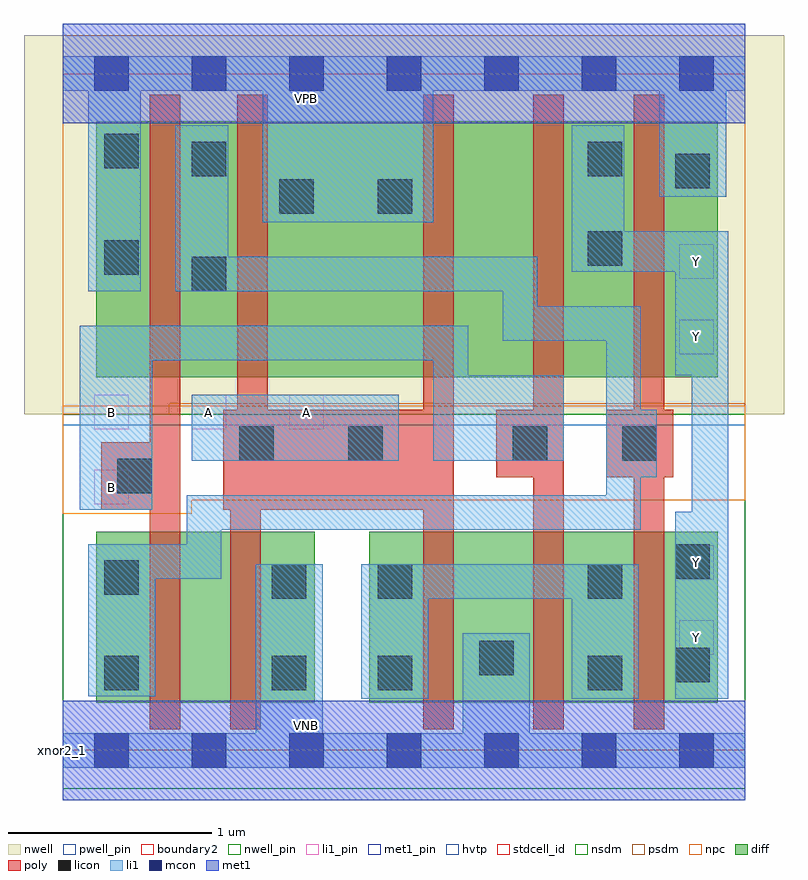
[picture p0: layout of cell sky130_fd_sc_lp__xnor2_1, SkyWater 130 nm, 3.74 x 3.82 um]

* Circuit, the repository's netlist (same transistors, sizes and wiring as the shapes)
* Copyright 2020 The SkyWater PDK Authors
*
* Licensed under the Apache License, Version 2.0 (the "License");
* you may not use this file except in compliance with the License.
* You may obtain a copy of the License at
*
*     https://www.apache.org/licenses/LICENSE-2.0
*
* Unless required by applicable law or agreed to in writing, software
* distributed under the License is distributed on an "AS IS" BASIS,
* WITHOUT WARRANTIES OR CONDITIONS OF ANY KIND, either express or implied.
* See the License for the specific language governing permissions and
* limitations under the License.
*
* SPDX-License-Identifier: Apache-2.0

.SUBCKT sky130_fd_sc_lp__xnor2_1 A B VGND VNB VPB VPWR Y
*.PININFO A:I B:I VGND:I VNB:I VPB:I VPWR:I Y:O
MMNnand0 VGND A sndNA VNB sky130_fd_pr__nfet_01v8 m=1 w=0.84U l=0.15U mult=1 sa=0.265
+ sb=0.265 sd=0.28 area=0.063 perim=1.14
MMNnand1 sndNA B inand VNB sky130_fd_pr__nfet_01v8 m=1 w=0.84U l=0.15U mult=1 sa=0.265
+ sb=0.265 sd=0.28 area=0.063 perim=1.14
MMNaoi10 nmid A VGND VNB sky130_fd_pr__nfet_01v8 m=1 w=0.84U l=0.15U mult=1 sa=0.265
+ sb=0.265 sd=0.28 area=0.063 perim=1.14
MMNaoi11 nmid B VGND VNB sky130_fd_pr__nfet_01v8 m=1 w=0.84U l=0.15U mult=1 sa=0.265
+ sb=0.265 sd=0.28 area=0.063 perim=1.14
MMNaoi20 Y inand nmid VNB sky130_fd_pr__nfet_01v8 m=1 w=0.84U l=0.15U mult=1 sa=0.265
+ sb=0.265 sd=0.28 area=0.063 perim=1.14
MMPnand0 inand A VPWR VPB sky130_fd_pr__pfet_01v8_hvt m=1 w=1.26U l=0.15U mult=1
+ sa=0.265 sb=0.265 sd=0.28 area=0.063 perim=1.14
MMPnand1 inand B VPWR VPB sky130_fd_pr__pfet_01v8_hvt m=1 w=1.26U l=0.15U mult=1
+ sa=0.265 sb=0.265 sd=0.28 area=0.063 perim=1.14
MMPaoi10 VPWR A sndPA VPB sky130_fd_pr__pfet_01v8_hvt m=1 w=1.26U l=0.15U mult=1
+ sa=0.265 sb=0.265 sd=0.28 area=0.063 perim=1.14
MMPaoi11 sndPA B Y VPB sky130_fd_pr__pfet_01v8_hvt m=1 w=1.26U l=0.15U mult=1 sa=0.265
+ sb=0.265 sd=0.28 area=0.063 perim=1.14
MMPaoi20 Y inand VPWR VPB sky130_fd_pr__pfet_01v8_hvt m=1 w=1.26U l=0.15U mult=1
+ sa=0.265 sb=0.265 sd=0.28 area=0.063 perim=1.14
.ENDS sky130_fd_sc_lp__xnor2_1

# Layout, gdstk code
import gdstk
lib = gdstk.Library(unit=1e-6, precision=1e-09)
def R(c, l, rs):  # rectangles x0, y0, x1, y1
    for r in rs: c.add(gdstk.rectangle(r[:2], r[2:], *l))
def A(c, l, x, y, w, h, nx, ny, dx, dy):  # array of equal rectangles
    R(c, l, [(x+i*dx, y+j*dy, x+i*dx+w, y+j*dy+h) for i in range(nx) for j in range(ny)])
def P(c, l, *ps):  # polygons
    for p in ps: c.add(gdstk.Polygon(p, *l))
nwell_pin = (64, 16)
nwell = (64, 20)
diff = (65, 20)
poly = (66, 20)
licon = (66, 44)
li1_pin = (67, 16)
li1 = (67, 20)
mcon = (67, 44)
met1_pin = (68, 16)
met1 = (68, 20)
hvtp = (78, 44)
stdcell_id = (81, 4)
nsdm = (93, 44)
psdm = (94, 20)
npc = (95, 20)
pwell_pin = (122, 16)
boundary2 = (236, 0)

sky130_fd_sc_lp__xnor2_1 = lib.new_cell('sky130_fd_sc_lp__xnor2_1')
R(sky130_fd_sc_lp__xnor2_1, nwell_pin, [(0,3.085,3.36,3.33)])
R(sky130_fd_sc_lp__xnor2_1, nwell, [(-0.19,1.655,3.55,3.52)])
R(sky130_fd_sc_lp__xnor2_1, diff, [(0.165,0.235,1.24,1.075), (1.51,0.235,3.225,1.075), (0.165,1.835,3.225,3.095)])
P(sky130_fd_sc_lp__xnor2_1, poly, [(1.925,3.225),(1.775,3.225),(1.775,1.675),(1.01,1.675),(1.01,3.225),(0.86,3.225),(0.86,1.675),(0.79,1.675),(0.79,1.185),(0.825,1.185),(0.825,0.105),(0.975,0.105),(0.975,1.185),(1.775,1.185),(1.775,0.105),(1.925,0.105)],
  [(0.58,3.225),(0.43,3.225),(0.43,1.515),(0.19,1.515),(0.19,1.185),(0.43,1.185),(0.43,0.105),(0.58,0.105)],
  [(2.465,3.225),(2.315,3.225),(2.315,1.675),(2.135,1.675),(2.135,1.345),(2.315,1.345),(2.315,0.105),(2.465,0.105)],
  [(3.005,1.675),(2.96,1.675),(2.96,3.225),(2.81,3.225),(2.81,1.675),(2.675,1.675),(2.675,1.345),(2.81,1.345),(2.81,0.105),(2.96,0.105),(2.96,1.345),(3.005,1.345)])
R(sky130_fd_sc_lp__xnor2_1, licon, [(0.205,0.295,0.375,0.465), (1.03,0.295,1.2,0.465), (1.55,0.295,1.72,0.465), (2.585,0.295,2.755,0.465), (3.015,0.335,3.185,0.505), (2.05,0.37,2.22,0.54), (1.03,0.745,1.2,0.915), (1.55,0.745,1.72,0.915), (2.585,0.745,2.755,0.915), (0.205,0.765,0.375,0.935), (3.015,0.845,3.185,1.015), (0.27,1.265,0.44,1.435), (0.87,1.425,1.04,1.595), (1.405,1.425,1.575,1.595), (2.215,1.425,2.385,1.595), (2.755,1.425,2.925,1.595), (0.635,2.26,0.805,2.43), (0.205,2.34,0.375,2.51), (2.585,2.385,2.755,2.555), (1.065,2.64,1.235,2.81), (1.55,2.64,1.72,2.81), (3.015,2.765,3.185,2.935), (0.635,2.825,0.805,2.995), (2.585,2.825,2.755,2.995), (0.205,2.865,0.375,3.035)])
A(sky130_fd_sc_lp__xnor2_1, li1_pin, 0.155, 1.58, 0.17, 0.17, 3, 1, 0.48, 0)
R(sky130_fd_sc_lp__xnor2_1, li1_pin, [(3.035,0.47,3.205,0.64), (3.035,0.84,3.205,1.01), (0.155,1.21,0.325,1.38), (3.035,1.95,3.205,2.12), (3.035,2.32,3.205,2.49)])
R(sky130_fd_sc_lp__xnor2_1, li1, [(0.635,1.425,1.655,1.75)])
P(sky130_fd_sc_lp__xnor2_1, li1, [(0.985,2.6),(0.985,3.245),(0.385,3.245),(0.385,2.26),(0.125,2.26),(0.125,3.245),(0,3.245),(0,3.415),(3.36,3.415),(3.36,3.245),(3.265,3.245),(3.265,2.725),(2.935,2.725),(2.935,3.245),(1.825,3.245),(1.825,2.6)],
  [(0.95,0.085),(0.95,0.915),(1.28,0.915),(1.28,0.085),(1.97,0.085),(1.97,0.575),(2.3,0.575),(2.3,0.085),(3.36,0.085),(3.36,-0.085),(0,-0.085),(0,0.085)],
  [(3.275,2.555),(2.765,2.555),(2.765,3.075),(2.505,3.075),(2.505,2.355),(3.015,2.355),(3.015,1.845),(3.095,1.845),(3.095,1.175),(3.015,1.175),(3.015,0.255),(3.275,0.255)],
  [(2.505,0.745),(1.8,0.745),(1.8,0.255),(1.47,0.255),(1.47,0.915),(2.835,0.915),(2.835,0.255),(2.505,0.255)],
  [(2.465,1.845),(1.995,1.845),(1.995,2.09),(0.085,2.09),(0.085,1.185),(0.44,1.185),(0.44,1.92),(1.825,1.92),(1.825,1.425),(2.465,1.425)],
  [(2.925,1.675),(2.845,1.675),(2.845,2.185),(2.335,2.185),(2.335,2.43),(0.815,2.43),(0.815,3.075),(0.555,3.075),(0.555,2.26),(2.165,2.26),(2.165,2.015),(2.675,2.015),(2.675,1.255),(0.61,1.255),(0.61,1.015),(0.125,1.015),(0.125,0.265),(0.455,0.265),(0.455,0.845),(0.78,0.845),(0.78,1.085),(2.845,1.085),(2.845,1.345),(2.925,1.345)])
A(sky130_fd_sc_lp__xnor2_1, mcon, 0.155, -0.085, 0.17, 0.17, 7, 2, 0.48, 3.33)
R(sky130_fd_sc_lp__xnor2_1, met1_pin, [(0,0,3.36,0.245), (0,3.085,3.36,3.33)])
R(sky130_fd_sc_lp__xnor2_1, met1, [(0,-0.245,3.36,0.245), (0,3.085,3.36,3.575)])
R(sky130_fd_sc_lp__xnor2_1, hvtp, [(0,1.6,3.36,3.33)])
R(sky130_fd_sc_lp__xnor2_1, stdcell_id, [(0,0,3.36,3.33)])
R(sky130_fd_sc_lp__xnor2_1, nsdm, [(0,-0.19,3.36,1.655)])
P(sky130_fd_sc_lp__xnor2_1, psdm, [(3.36,3.52),(0,3.52),(0,1.655),(0.525,1.655),(0.525,1.705),(3.36,1.705)])
P(sky130_fd_sc_lp__xnor2_1, npc, [(3.36,1.695),(0,1.695),(0,1.165),(0.635,1.165),(0.635,1.23),(3.36,1.23)])
R(sky130_fd_sc_lp__xnor2_1, pwell_pin, [(0,0,3.36,0.245)])
R(sky130_fd_sc_lp__xnor2_1, boundary2, [(0,0,3.36,3.33)])
sky130_fd_sc_lp__xnor2_1.add(gdstk.Label('VNB', (1.2,0.123), layer=64, texttype=59))
sky130_fd_sc_lp__xnor2_1.add(gdstk.Label('VPB', (1.2,3.208), layer=64, texttype=5))
sky130_fd_sc_lp__xnor2_1.add(gdstk.Label('xnor2_1', (0,0), layer=83, texttype=44))
sky130_fd_sc_lp__xnor2_1.add(gdstk.Label('VPWR', (1.2,3.208), layer=68, texttype=5))
sky130_fd_sc_lp__xnor2_1.add(gdstk.Label('VGND', (1.2,0.123), layer=68, texttype=5))
sky130_fd_sc_lp__xnor2_1.add(gdstk.Label('Y', (3.12,0.555), layer=67, texttype=5))
sky130_fd_sc_lp__xnor2_1.add(gdstk.Label('Y', (3.12,0.925), layer=67, texttype=5))
sky130_fd_sc_lp__xnor2_1.add(gdstk.Label('Y', (3.12,2.035), layer=67, texttype=5))
sky130_fd_sc_lp__xnor2_1.add(gdstk.Label('Y', (3.12,2.405), layer=67, texttype=5))
sky130_fd_sc_lp__xnor2_1.add(gdstk.Label('A', (0.72,1.665), layer=67, texttype=5))
sky130_fd_sc_lp__xnor2_1.add(gdstk.Label('B', (0.24,1.295), layer=67, texttype=5))
sky130_fd_sc_lp__xnor2_1.add(gdstk.Label('A', (1.2,1.665), layer=67, texttype=5))
sky130_fd_sc_lp__xnor2_1.add(gdstk.Label('B', (0.24,1.665), layer=67, texttype=5))

lib.write_gds('sky130_fd_sc_lp__xnor2_1.gds')
